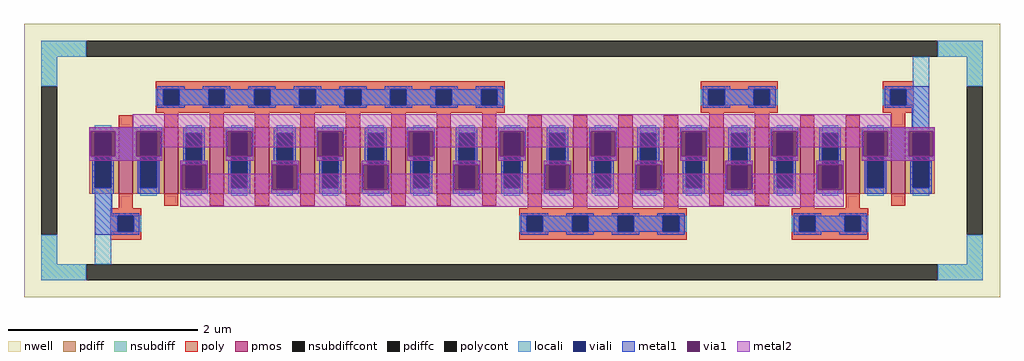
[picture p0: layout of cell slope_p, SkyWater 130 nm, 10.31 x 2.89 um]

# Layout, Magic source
magic
tech sky130A
magscale 1 2
<< nwell >>
rect -1031 -289 1031 289
<< pmos >>
rect -831 -70 -801 70
rect -735 -70 -705 70
rect -639 -70 -609 70
rect -543 -70 -513 70
rect -447 -70 -417 70
rect -351 -70 -321 70
rect -255 -70 -225 70
rect -159 -70 -129 70
rect -63 -70 -33 70
rect 33 -70 63 70
rect 129 -70 159 70
rect 225 -70 255 70
rect 321 -70 351 70
rect 417 -70 447 70
rect 513 -70 543 70
rect 609 -70 639 70
rect 705 -70 735 70
rect 801 -70 831 70
<< pdiff >>
rect -893 58 -831 70
rect -893 -58 -881 58
rect -847 -58 -831 58
rect -893 -70 -831 -58
rect -801 58 -735 70
rect -801 -58 -785 58
rect -751 -58 -735 58
rect -801 -70 -735 -58
rect -705 58 -639 70
rect -705 -58 -689 58
rect -655 -58 -639 58
rect -705 -70 -639 -58
rect -609 58 -543 70
rect -609 -58 -593 58
rect -559 -58 -543 58
rect -609 -70 -543 -58
rect -513 58 -447 70
rect -513 -58 -497 58
rect -463 -58 -447 58
rect -513 -70 -447 -58
rect -417 58 -351 70
rect -417 -58 -401 58
rect -367 -58 -351 58
rect -417 -70 -351 -58
rect -321 58 -255 70
rect -321 -58 -305 58
rect -271 -58 -255 58
rect -321 -70 -255 -58
rect -225 58 -159 70
rect -225 -58 -209 58
rect -175 -58 -159 58
rect -225 -70 -159 -58
rect -129 58 -63 70
rect -129 -58 -113 58
rect -79 -58 -63 58
rect -129 -70 -63 -58
rect -33 58 33 70
rect -33 -58 -17 58
rect 17 -58 33 58
rect -33 -70 33 -58
rect 63 58 129 70
rect 63 -58 79 58
rect 113 -58 129 58
rect 63 -70 129 -58
rect 159 58 225 70
rect 159 -58 175 58
rect 209 -58 225 58
rect 159 -70 225 -58
rect 255 58 321 70
rect 255 -58 271 58
rect 305 -58 321 58
rect 255 -70 321 -58
rect 351 58 417 70
rect 351 -58 367 58
rect 401 -58 417 58
rect 351 -70 417 -58
rect 447 58 513 70
rect 447 -58 463 58
rect 497 -58 513 58
rect 447 -70 513 -58
rect 543 58 609 70
rect 543 -58 559 58
rect 593 -58 609 58
rect 543 -70 609 -58
rect 639 58 705 70
rect 639 -58 655 58
rect 689 -58 705 58
rect 639 -70 705 -58
rect 735 58 801 70
rect 735 -58 751 58
rect 785 -58 801 58
rect 735 -70 801 -58
rect 831 58 893 70
rect 831 -58 847 58
rect 881 -58 893 58
rect 831 -70 893 -58
<< pdiffc >>
rect -881 -58 -847 58
rect -785 -58 -751 58
rect -689 -58 -655 58
rect -593 -58 -559 58
rect -497 -58 -463 58
rect -401 -58 -367 58
rect -305 -58 -271 58
rect -209 -58 -175 58
rect -113 -58 -79 58
rect -17 -58 17 58
rect 79 -58 113 58
rect 175 -58 209 58
rect 271 -58 305 58
rect 367 -58 401 58
rect 463 -58 497 58
rect 559 -58 593 58
rect 655 -58 689 58
rect 751 -58 785 58
rect 847 -58 881 58
<< nsubdiff >>
rect -995 219 -899 253
rect 899 219 995 253
rect -995 157 -961 219
rect 961 157 995 219
rect -995 -219 -961 -157
rect 961 -219 995 -157
rect -995 -253 -899 -219
rect 899 -253 995 -219
<< nsubdiffcont >>
rect -899 219 899 253
rect -995 -157 -961 157
rect 961 -157 995 157
rect -899 -253 899 -219
<< poly >>
rect -753 151 -15 167
rect -753 117 -737 151
rect -703 117 -641 151
rect -607 117 -545 151
rect -511 117 -449 151
rect -415 117 -353 151
rect -319 117 -257 151
rect -223 117 -161 151
rect -127 117 -65 151
rect -31 117 -15 151
rect -753 101 -15 117
rect 399 151 561 167
rect 399 117 415 151
rect 449 117 511 151
rect 545 117 561 151
rect 399 101 561 117
rect 783 151 849 167
rect 783 117 799 151
rect 833 117 849 151
rect 783 101 849 117
rect -831 70 -801 96
rect -735 70 -705 101
rect -639 70 -609 101
rect -543 70 -513 101
rect -447 70 -417 101
rect -351 70 -321 101
rect -255 70 -225 101
rect -159 70 -129 101
rect -63 70 -33 101
rect 33 70 63 96
rect 129 70 159 96
rect 225 70 255 96
rect 321 70 351 96
rect 417 70 447 101
rect 513 70 543 101
rect 609 70 639 96
rect 705 70 735 96
rect 801 70 831 101
rect -831 -101 -801 -70
rect -735 -96 -705 -70
rect -639 -96 -609 -70
rect -543 -96 -513 -70
rect -447 -96 -417 -70
rect -351 -96 -321 -70
rect -255 -96 -225 -70
rect -159 -96 -129 -70
rect -63 -96 -33 -70
rect 33 -101 63 -70
rect 129 -101 159 -70
rect 225 -101 255 -70
rect 321 -101 351 -70
rect 417 -96 447 -70
rect 513 -96 543 -70
rect 609 -101 639 -70
rect 705 -101 735 -70
rect 801 -96 831 -70
rect -849 -117 -783 -101
rect -849 -151 -833 -117
rect -799 -151 -783 -117
rect -849 -167 -783 -151
rect 15 -117 369 -101
rect 15 -151 31 -117
rect 65 -151 127 -117
rect 161 -151 223 -117
rect 257 -151 319 -117
rect 353 -151 369 -117
rect 15 -167 369 -151
rect 591 -117 753 -101
rect 591 -151 607 -117
rect 641 -151 703 -117
rect 737 -151 753 -117
rect 591 -167 753 -151
<< polycont >>
rect -737 117 -703 151
rect -641 117 -607 151
rect -545 117 -511 151
rect -449 117 -415 151
rect -353 117 -319 151
rect -257 117 -223 151
rect -161 117 -127 151
rect -65 117 -31 151
rect 415 117 449 151
rect 511 117 545 151
rect 799 117 833 151
rect -833 -151 -799 -117
rect 31 -151 65 -117
rect 127 -151 161 -117
rect 223 -151 257 -117
rect 319 -151 353 -117
rect 607 -151 641 -117
rect 703 -151 737 -117
<< locali >>
rect -995 219 -899 253
rect 899 219 995 253
rect -995 157 -961 219
rect 847 151 881 219
rect -753 117 -737 151
rect -703 117 -641 151
rect -607 117 -545 151
rect -511 117 -449 151
rect -415 117 -353 151
rect -319 117 -257 151
rect -223 117 -161 151
rect -127 117 -65 151
rect -31 117 -15 151
rect 399 117 415 151
rect 449 117 511 151
rect 545 117 561 151
rect 783 117 799 151
rect 833 117 881 151
rect -995 -219 -961 -157
rect -881 58 -847 74
rect -881 -117 -847 -58
rect -785 58 -751 74
rect -785 -74 -751 -58
rect -689 58 -655 74
rect -689 -74 -655 -58
rect -593 58 -559 74
rect -593 -74 -559 -58
rect -497 58 -463 74
rect -497 -74 -463 -58
rect -401 58 -367 74
rect -401 -74 -367 -58
rect -305 58 -271 74
rect -305 -74 -271 -58
rect -209 58 -175 74
rect -209 -74 -175 -58
rect -113 58 -79 74
rect -113 -74 -79 -58
rect -17 58 17 74
rect -17 -74 17 -58
rect 79 58 113 74
rect 79 -74 113 -58
rect 175 58 209 74
rect 175 -74 209 -58
rect 271 58 305 74
rect 271 -74 305 -58
rect 367 58 401 74
rect 367 -74 401 -58
rect 463 58 497 74
rect 463 -74 497 -58
rect 559 58 593 74
rect 559 -74 593 -58
rect 655 58 689 74
rect 655 -74 689 -58
rect 751 58 785 74
rect 751 -74 785 -58
rect 847 58 881 117
rect 847 -74 881 -58
rect 961 157 995 219
rect -881 -151 -833 -117
rect -799 -151 -783 -117
rect 15 -151 31 -117
rect 65 -151 127 -117
rect 161 -151 223 -117
rect 257 -151 319 -117
rect 353 -151 369 -117
rect 591 -151 607 -117
rect 641 -151 703 -117
rect 737 -151 753 -117
rect -881 -219 -847 -151
rect 961 -219 995 -157
rect -995 -253 -899 -219
rect 899 -253 995 -219
<< viali >>
rect -737 117 -703 151
rect -641 117 -607 151
rect -545 117 -511 151
rect -449 117 -415 151
rect -353 117 -319 151
rect -257 117 -223 151
rect -161 117 -127 151
rect -65 117 -31 151
rect 415 117 449 151
rect 511 117 545 151
rect 799 117 833 151
rect -881 -58 -847 58
rect -785 -58 -751 58
rect -689 -58 -655 58
rect -593 -58 -559 58
rect -497 -58 -463 58
rect -401 -58 -367 58
rect -305 -58 -271 58
rect -209 -58 -175 58
rect -113 -58 -79 58
rect -17 -58 17 58
rect 79 -58 113 58
rect 175 -58 209 58
rect 271 -58 305 58
rect 367 -58 401 58
rect 463 -58 497 58
rect 559 -58 593 58
rect 655 -58 689 58
rect 751 -58 785 58
rect 847 -58 881 58
rect -833 -151 -799 -117
rect 31 -151 65 -117
rect 127 -151 161 -117
rect 223 -151 257 -117
rect 319 -151 353 -117
rect 607 -151 641 -117
rect 703 -151 737 -117
<< metal1 >>
rect -749 151 -691 157
rect -653 151 -595 157
rect -557 151 -499 157
rect -461 151 -403 157
rect -365 151 -307 157
rect -269 151 -211 157
rect -173 151 -115 157
rect -77 151 -19 157
rect -749 117 -737 151
rect -703 117 -641 151
rect -607 117 -545 151
rect -511 117 -449 151
rect -415 117 -353 151
rect -319 117 -257 151
rect -223 117 -161 151
rect -127 117 -65 151
rect -31 117 -19 151
rect -749 111 -691 117
rect -653 111 -595 117
rect -557 111 -499 117
rect -461 111 -403 117
rect -365 111 -307 117
rect -269 111 -211 117
rect -173 111 -115 117
rect -77 111 -19 117
rect 403 151 461 157
rect 499 151 557 157
rect 403 117 415 151
rect 449 117 511 151
rect 545 117 557 151
rect 403 111 461 117
rect 499 111 557 117
rect 787 151 881 157
rect 787 117 799 151
rect 833 117 881 151
rect 787 111 881 117
rect 845 70 881 111
rect -893 62 -739 70
rect -893 9 -890 62
rect -838 9 -794 62
rect -742 9 -739 62
rect -893 0 -881 9
rect -887 -58 -881 0
rect -847 0 -785 9
rect -847 -58 -841 0
rect -887 -70 -841 -58
rect -791 -58 -785 0
rect -751 0 -739 9
rect -695 58 -649 70
rect -695 0 -689 58
rect -751 -58 -745 0
rect -791 -70 -745 -58
rect -701 -9 -689 0
rect -655 0 -649 58
rect -605 62 -547 70
rect -605 9 -602 62
rect -550 9 -547 62
rect -605 0 -593 9
rect -655 -9 -643 0
rect -701 -62 -698 -9
rect -646 -62 -643 -9
rect -701 -70 -643 -62
rect -599 -58 -593 0
rect -559 0 -547 9
rect -503 58 -457 70
rect -503 0 -497 58
rect -559 -58 -553 0
rect -599 -70 -553 -58
rect -509 -9 -497 0
rect -463 0 -457 58
rect -413 62 -355 70
rect -413 9 -410 62
rect -358 9 -355 62
rect -413 0 -401 9
rect -463 -9 -451 0
rect -509 -62 -506 -9
rect -454 -62 -451 -9
rect -509 -70 -451 -62
rect -407 -58 -401 0
rect -367 0 -355 9
rect -311 58 -265 70
rect -311 0 -305 58
rect -367 -58 -361 0
rect -407 -70 -361 -58
rect -317 -9 -305 0
rect -271 0 -265 58
rect -221 62 -163 70
rect -221 9 -218 62
rect -166 9 -163 62
rect -221 0 -209 9
rect -271 -9 -259 0
rect -317 -62 -314 -9
rect -262 -62 -259 -9
rect -317 -70 -259 -62
rect -215 -58 -209 0
rect -175 0 -163 9
rect -119 58 -73 70
rect -119 0 -113 58
rect -175 -58 -169 0
rect -215 -70 -169 -58
rect -125 -9 -113 0
rect -79 0 -73 58
rect -29 62 29 70
rect -29 9 -26 62
rect 26 9 29 62
rect -29 0 -17 9
rect -79 -9 -67 0
rect -125 -62 -122 -9
rect -70 -62 -67 -9
rect -125 -70 -67 -62
rect -23 -58 -17 0
rect 17 0 29 9
rect 73 58 119 70
rect 73 0 79 58
rect 17 -58 23 0
rect -23 -70 23 -58
rect 67 -9 79 0
rect 113 0 119 58
rect 163 62 221 70
rect 163 9 166 62
rect 218 9 221 62
rect 163 0 175 9
rect 113 -9 125 0
rect 67 -62 70 -9
rect 122 -62 125 -9
rect 67 -70 125 -62
rect 169 -58 175 0
rect 209 0 221 9
rect 265 58 311 70
rect 265 0 271 58
rect 209 -58 215 0
rect 169 -70 215 -58
rect 259 -9 271 0
rect 305 0 311 58
rect 355 62 413 70
rect 355 9 358 62
rect 410 9 413 62
rect 355 0 367 9
rect 305 -9 317 0
rect 259 -62 262 -9
rect 314 -62 317 -9
rect 259 -70 317 -62
rect 361 -58 367 0
rect 401 0 413 9
rect 457 58 503 70
rect 457 0 463 58
rect 401 -58 407 0
rect 361 -70 407 -58
rect 451 -9 463 0
rect 497 0 503 58
rect 547 62 605 70
rect 547 9 550 62
rect 602 9 605 62
rect 547 0 559 9
rect 497 -9 509 0
rect 451 -62 454 -9
rect 506 -62 509 -9
rect 451 -70 509 -62
rect 553 -58 559 0
rect 593 0 605 9
rect 649 58 695 70
rect 649 0 655 58
rect 593 -58 599 0
rect 553 -70 599 -58
rect 643 -9 655 0
rect 689 0 695 58
rect 739 62 893 70
rect 739 9 742 62
rect 794 9 838 62
rect 890 9 893 62
rect 739 0 751 9
rect 689 -9 701 0
rect 643 -62 646 -9
rect 698 -62 701 -9
rect 643 -70 701 -62
rect 745 -58 751 0
rect 785 0 847 9
rect 785 -58 791 0
rect 745 -70 791 -58
rect 841 -58 847 0
rect 881 0 893 9
rect 881 -58 887 0
rect 841 -70 887 -58
rect -881 -111 -845 -70
rect -881 -117 -787 -111
rect -881 -151 -833 -117
rect -799 -151 -787 -117
rect -881 -157 -787 -151
rect 19 -117 77 -111
rect 115 -117 173 -111
rect 211 -117 269 -111
rect 307 -117 365 -111
rect 19 -151 31 -117
rect 65 -151 127 -117
rect 161 -151 223 -117
rect 257 -151 319 -117
rect 353 -151 365 -117
rect 19 -157 77 -151
rect 115 -157 173 -151
rect 211 -157 269 -151
rect 307 -157 365 -151
rect 595 -117 653 -111
rect 691 -117 749 -111
rect 595 -151 607 -117
rect 641 -151 703 -117
rect 737 -151 749 -117
rect 595 -157 653 -151
rect 691 -157 749 -151
<< via1 >>
rect -890 58 -838 62
rect -890 9 -881 58
rect -881 9 -847 58
rect -847 9 -838 58
rect -794 58 -742 62
rect -794 9 -785 58
rect -785 9 -751 58
rect -751 9 -742 58
rect -602 58 -550 62
rect -602 9 -593 58
rect -593 9 -559 58
rect -559 9 -550 58
rect -698 -58 -689 -9
rect -689 -58 -655 -9
rect -655 -58 -646 -9
rect -698 -62 -646 -58
rect -410 58 -358 62
rect -410 9 -401 58
rect -401 9 -367 58
rect -367 9 -358 58
rect -506 -58 -497 -9
rect -497 -58 -463 -9
rect -463 -58 -454 -9
rect -506 -62 -454 -58
rect -218 58 -166 62
rect -218 9 -209 58
rect -209 9 -175 58
rect -175 9 -166 58
rect -314 -58 -305 -9
rect -305 -58 -271 -9
rect -271 -58 -262 -9
rect -314 -62 -262 -58
rect -26 58 26 62
rect -26 9 -17 58
rect -17 9 17 58
rect 17 9 26 58
rect -122 -58 -113 -9
rect -113 -58 -79 -9
rect -79 -58 -70 -9
rect -122 -62 -70 -58
rect 166 58 218 62
rect 166 9 175 58
rect 175 9 209 58
rect 209 9 218 58
rect 70 -58 79 -9
rect 79 -58 113 -9
rect 113 -58 122 -9
rect 70 -62 122 -58
rect 358 58 410 62
rect 358 9 367 58
rect 367 9 401 58
rect 401 9 410 58
rect 262 -58 271 -9
rect 271 -58 305 -9
rect 305 -58 314 -9
rect 262 -62 314 -58
rect 550 58 602 62
rect 550 9 559 58
rect 559 9 593 58
rect 593 9 602 58
rect 454 -58 463 -9
rect 463 -58 497 -9
rect 497 -58 506 -9
rect 454 -62 506 -58
rect 742 58 794 62
rect 742 9 751 58
rect 751 9 785 58
rect 785 9 794 58
rect 838 58 890 62
rect 838 9 847 58
rect 847 9 881 58
rect 881 9 890 58
rect 646 -58 655 -9
rect 655 -58 689 -9
rect 689 -58 698 -9
rect 646 -62 698 -58
<< metal2 >>
rect -801 70 801 98
rect -893 62 893 70
rect -893 9 -890 62
rect -838 9 -794 62
rect -742 28 -602 62
rect -742 9 -739 28
rect -893 0 -739 9
rect -605 9 -602 28
rect -550 28 -410 62
rect -550 9 -547 28
rect -605 0 -547 9
rect -413 9 -410 28
rect -358 28 -218 62
rect -358 9 -355 28
rect -413 0 -355 9
rect -221 9 -218 28
rect -166 28 -26 62
rect -166 9 -163 28
rect -221 0 -163 9
rect -29 9 -26 28
rect 26 28 166 62
rect 26 9 29 28
rect -29 0 29 9
rect 163 9 166 28
rect 218 28 358 62
rect 218 9 221 28
rect 163 0 221 9
rect 355 9 358 28
rect 410 28 550 62
rect 410 9 413 28
rect 355 0 413 9
rect 547 9 550 28
rect 602 28 742 62
rect 602 9 605 28
rect 547 0 605 9
rect 739 9 742 28
rect 794 9 838 62
rect 890 9 893 62
rect 739 0 893 9
rect -701 -9 -643 0
rect -701 -62 -698 -9
rect -646 -28 -643 -9
rect -509 -9 -451 0
rect -509 -28 -506 -9
rect -646 -62 -506 -28
rect -454 -28 -451 -9
rect -317 -9 -259 0
rect -317 -28 -314 -9
rect -454 -62 -314 -28
rect -262 -28 -259 -9
rect -125 -9 -67 0
rect -125 -28 -122 -9
rect -262 -62 -122 -28
rect -70 -28 -67 -9
rect 67 -9 125 0
rect 67 -28 70 -9
rect -70 -62 70 -28
rect 122 -28 125 -9
rect 259 -9 317 0
rect 259 -28 262 -9
rect 122 -62 262 -28
rect 314 -28 317 -9
rect 451 -9 509 0
rect 451 -28 454 -9
rect 314 -62 454 -28
rect 506 -28 509 -9
rect 643 -9 701 0
rect 643 -28 646 -9
rect 506 -62 646 -28
rect 698 -62 701 -9
rect -701 -98 701 -62
<< properties >>
string FIXED_BBOX -978 -236 978 236
string gencell sky130_fd_pr__pfet_01v8
string library sky130
string parameters w 0.7 l 0.15 m 1 nf 18 diffcov 100 polycov 100 guard 1 glc 1 grc 1 gtc 1 gbc 1 tbcov 100 rlcov 100 topc 1 botc 1 poverlap 0 doverlap 1 lmin 0.15 wmin 0.42 compatible {sky130_fd_pr__pfet_01v8  sky130_fd_pr__pfet_01v8_lvt sky130_fd_pr__pfet_01v8_hvt  sky130_fd_pr__pfet_g5v0d10v5} full_metal 1 viasrc 100 viadrn 100 viagate 100 viagb 0 viagr 0 viagl 0 viagt 0
<< end >>
